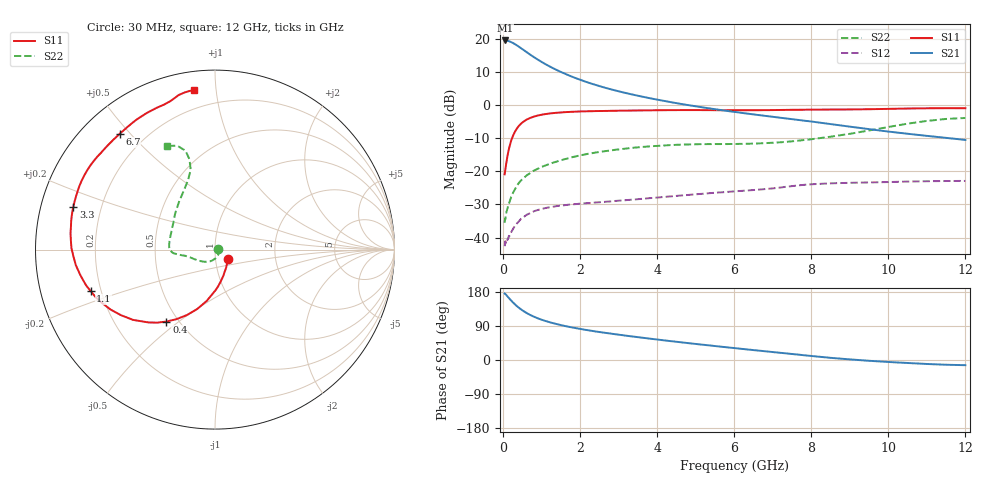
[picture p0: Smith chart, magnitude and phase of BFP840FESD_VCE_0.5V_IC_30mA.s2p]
! Infineon Technologies  Discrete & RF Semiconductors
! BFP840FESD
! VCE =  0.5 V,  IC =  30 mA
! Common Emitter S-Parameters:  May 2012
# GHz  S  MA  R  50
!  f  S11  S21  S12  S22
! GHz  MAG  ANG  MAG  ANG  MAG  ANG  MAG  ANG
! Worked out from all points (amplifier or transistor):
!   103 points, 30 MHz to 12 GHz, reference 50 ohm
!   highest |S21| = 19.5 dB at 40 MHz (marker M1)
!   |S21| within 3 dB of that: start of sweep to 537.8 MHz
!   unconditionally stable (mu >= 1): start of sweep to end of sweep
!   at 400 MHz: K = 2.92, MAG = 18.8 dB, |S12| = -35.1 dB
!   at 3.7 GHz: K = 2.99, MAG = 7.6 dB, |S12| = -28.2 dB
!   at 12 GHz: K = 3.30, MAG = -1.9 dB, |S12| = -22.9 dB
!   S11 on the Smith chart (normalised r, x): 30 MHz: 1.15, -0.12; 400 MHz: 0.43, -0.45; 1.1 GHz: 0.16, -0.16; 3.3 GHz: 0.10, +0.15; 6.7 GHz: 0.11, +0.47; 12 GHz: 0.10, +0.87
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0.03  0.0898 -35.3  9.412 175.4  0.0074 16.7  0.0167 13.0
0.04  0.0968 -44.0  9.42 174.3  0.0078 16.3  0.0191 3.6
0.05  0.1075 -52.5  9.407 174.3  0.0088 14.3  0.0189 -4.9
0.13  0.2019 -84.5  9.225 164.8  0.01 28.8  0.0306 -50.1
0.2  0.2891 -99.1  8.89 156.9  0.012 35.9  0.0408 -73.5
0.25  0.3459 -106.7  8.61 151.6  0.0135 38.9  0.0474 -84.9
0.35  0.4425 -118.9  7.931 142.1  0.0163 40.0  0.0604 -102.1
0.4  0.4836 -124.0  7.585 138.0  0.0175 39.5  0.0666 -108.6
0.5  0.5496 -132.4  6.912 130.5  0.0198 38.6  0.0766 -119.0
0.7  0.6394 -145.2  5.726 118.6  0.0234 35.9  0.0945 -135.2
0.9  0.6953 -154.6  4.812 109.7  0.0261 33.1  0.1097 -146.0
1.1  0.7303 -161.6  4.105 102.7  0.0279 31.0  0.123 -153.5
1.5  0.7719 -171.6  3.137 92.0  0.0303 28.6  0.1466 -163.2
2.1  0.802 177.9  2.284 80.1  0.0328 27.3  0.1785 -169.3
2.7  0.8143 170.1  1.781 70.9  0.0348 27.7  0.2032 -172.1
3.3  0.8242 163.2  1.46 62.7  0.0371 28.8  0.2236 -174.2
4.1  0.8346 154.7  1.174 52.7  0.0406 29.7  0.2437 -177.5
6.1  0.8331 135.8  0.773 30.3  0.0502 29.6  0.2587 165.0
6.7  0.8355 129.5  0.697 24.1  0.0532 29.7  0.2641 156.1
8.5  0.8541 112.4  0.515 5.7  0.0657 23.0  0.3324 127.2
10.5  0.8848 103.2  0.368 -7.9  0.0699 16.5  0.523 105.8
12  0.8943 97.4  0.297 -13.7  0.0715 14.7  0.6368 114.9
